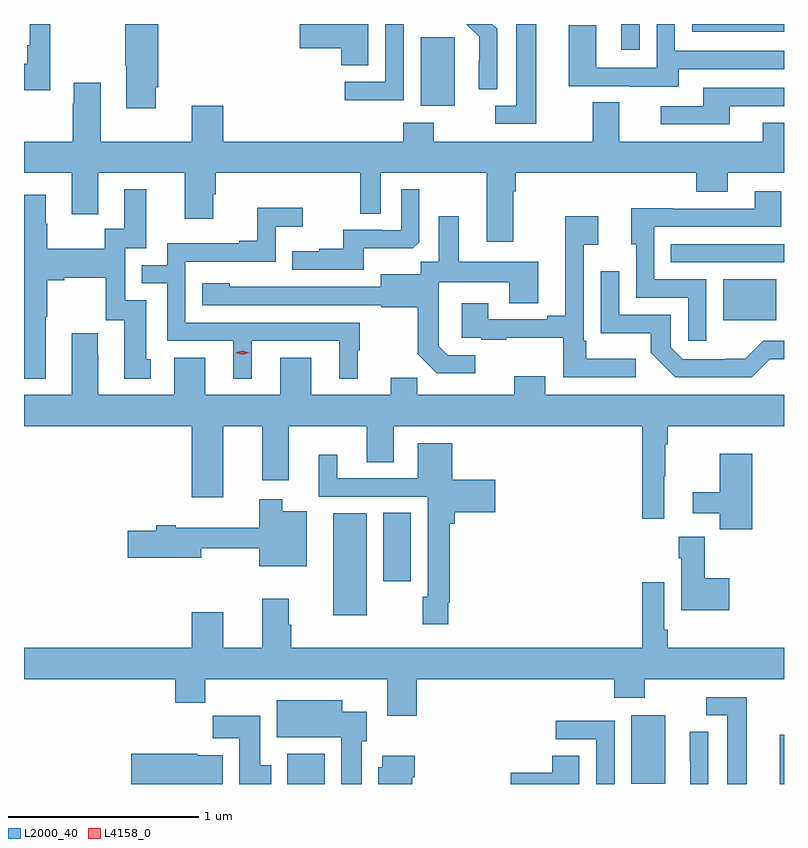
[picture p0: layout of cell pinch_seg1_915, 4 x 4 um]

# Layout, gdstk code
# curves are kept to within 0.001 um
import gdstk
lib = gdstk.Library(unit=1e-6, precision=1e-09)
def R(c, l, rs):  # rectangles x0, y0, x1, y1
    for r in rs: c.add(gdstk.rectangle(r[:2], r[2:], *l))
def P(c, l, *ps):  # polygons
    for p in ps: c.add(gdstk.Polygon(p, *l))
L2000_40 = (2000, 40)
L4158_0 = (4158, 0)

pinch_seg1_915 = lib.new_cell('pinch_seg1_915')
R(pinch_seg1_915, L2000_40, [(177.497,552.512,177.694,552.67), (180.089,552.512,180.112,552.771), (179.309,552.513,179.488,552.874), (177.74,553.4,177.916,553.936), (178.004,553.578,178.147,553.94), (179.792,554.954,180.07,555.169), (179.515,555.258,180.112,555.354), (178.199,556.082,178.378,556.443), (179.255,556.377,179.352,556.512), (179.628,556.47,180.112,556.512)])
P(pinch_seg1_915, L2000_40, [(176.806,556.18),(176.819,556.18),(176.819,556.512),(176.644,556.512),(176.644,556.291),(176.651,556.291),(176.651,556.068),(176.806,556.068)],
  [(177.925,556.512),(177.564,556.512),(177.564,556.385),(177.782,556.385),(177.782,556.294),(177.925,556.294)],
  [(178.807,556.512),(178.703,556.512),(178.703,556.083),(178.593,556.083),(178.593,555.987),(178.807,555.987)],
  [(178.602,556.486),(178.576,556.512),(178.44,556.512),(178.508,556.445),(178.508,556.322),(178.506,556.322),(178.506,556.168),(178.602,556.168)],
  [(178.11,556.512),(178.014,556.512),(178.014,556.209),(177.801,556.209),(177.801,556.111),(178.11,556.111)],
  [(179.557,556.275),(180.112,556.275),(180.112,556.371),(179.538,556.371),(179.538,556.512),(179.442,556.512),(179.442,556.281),(179.124,556.281),(179.124,556.505),(178.979,556.505),(178.979,556.185),(179.303,556.185),(179.303,556.181),(179.557,556.181)],
  [(176.251,556.512),(176.142,556.512),(176.142,556.399),(176.13,556.399),(176.13,556.303),(176.112,556.303),(176.112,556.163),(176.251,556.163)],
  [(178.687,555.632),(178.7,555.632),(178.7,555.728),(179.651,555.728),(179.651,555.629),(179.815,555.629),(179.815,555.728),(180.112,555.728),(180.112,555.991),(179.999,555.991),(179.999,555.892),(179.245,555.892),(179.245,556.1),(179.105,556.1),(179.105,555.892),(178.269,555.892),(178.269,555.991),(178.109,555.991),(178.109,555.892),(177.16,555.892),(177.16,556.081),(176.996,556.081),(176.996,555.892),(176.515,555.892),(176.515,556.204),(176.375,556.204),(176.375,556.091),(176.368,556.091),(176.368,555.892),(176.112,555.892),(176.112,555.728),(176.363,555.728),(176.363,555.51),(176.503,555.51),(176.503,555.728),(176.957,555.728),(176.957,555.486),(177.109,555.486),(177.109,555.615),(177.122,555.615),(177.122,555.728),(177.882,555.728),(177.882,555.514),(177.99,555.514),(177.99,555.728),(178.547,555.728),(178.547,555.366),(178.687,555.366)],
  [(179.827,556.08),(180.112,556.08),(180.112,556.176),(179.687,556.176),(179.687,556.08),(179.463,556.08),(179.463,555.984),(179.827,555.984)],
  [(177.901,555.332),(178.159,555.332),(178.191,555.363),(178.191,555.643),(178.098,555.643),(178.098,555.426),(177.998,555.426),(177.998,555.429),(177.791,555.429),(177.791,555.328),(177.667,555.328),(177.667,555.316),(177.523,555.316),(177.523,555.219),(177.901,555.219)],
  [(176.227,554.971),(176.235,554.971),(176.235,555.164),(176.323,555.164),(176.323,555.176),(176.543,555.176),(176.543,554.952),(176.639,554.952),(176.639,554.646),(176.779,554.646),(176.779,554.748),(176.755,554.748),(176.755,555.057),(176.646,555.057),(176.646,555.333),(176.755,555.333),(176.755,555.643),(176.639,555.643),(176.639,555.434),(176.538,555.434),(176.538,555.328),(176.235,555.328),(176.235,555.462),(176.227,555.462),(176.227,555.613),(176.112,555.613),(176.112,554.645),(176.227,554.645)],
  [(179.703,555.168),(179.43,555.168),(179.43,555.444),(180.097,555.444),(180.097,555.631),(179.957,555.631),(179.957,555.54),(179.527,555.54),(179.527,555.542),(179.309,555.542),(179.309,555.354),(179.334,555.354),(179.334,555.072),(179.607,555.072),(179.607,554.844),(179.703,554.844)],
  [(177.31,554.844),(177.77,554.844),(177.77,554.645),(177.868,554.645),(177.868,554.796),(177.88,554.796),(177.88,554.94),(176.961,554.94),(176.961,555.261),(177.438,555.261),(177.438,555.446),(177.58,555.446),(177.58,555.545),(177.34,555.545),(177.34,555.37),(177.245,555.37),(177.245,555.357),(176.865,555.357),(176.865,555.243),(176.731,555.243),(176.731,555.147),(176.865,555.147),(176.865,554.844),(177.212,554.844),(177.212,554.645),(177.31,554.645)],
  [(179.332,554.749),(179.071,554.749),(179.071,554.845),(179.058,554.845),(179.058,555.35),(179.134,555.35),(179.134,555.499),(178.961,555.499),(178.961,554.977),(178.865,554.977),(178.865,554.958),(178.555,554.958),(178.555,555.043),(178.415,555.043),(178.415,554.862),(178.519,554.862),(178.519,554.85),(178.651,554.85),(178.651,554.861),(178.95,554.861),(178.95,554.652),(179.332,554.652)],
  [(178.486,554.769),(178.341,554.769),(178.294,554.816),(178.294,554.911),(178.296,554.911),(178.296,555.152),(178.667,555.152),(178.667,555.043),(178.819,555.043),(178.819,555.262),(178.399,555.262),(178.399,555.499),(178.295,555.499),(178.295,555.26),(178.2,555.26),(178.2,555.196),(177.989,555.196),(177.989,555.129),(177.195,555.13),(177.195,555.148),(177.051,555.148),(177.051,555.033),(177.993,555.033),(177.993,555.021),(178.185,555.021),(178.185,554.775),(178.285,554.675),(178.486,554.675)],
  [(180.038,554.747),(180.112,554.747),(180.112,554.844),(180.003,554.844),(179.909,554.75),(179.804,554.75),(179.804,554.748),(179.58,554.748),(179.517,554.811),(179.517,554.982),(179.244,554.982),(179.244,555.211),(179.148,555.211),(179.148,554.885),(179.41,554.885),(179.41,554.783),(179.54,554.652),(179.943,554.652)],
  [(179.482,554.131),(179.486,554.131),(179.486,554.3),(179.501,554.3),(179.501,554.396),(180.112,554.396),(180.112,554.56),(178.855,554.56),(178.855,554.659),(178.691,554.659),(178.691,554.56),(178.181,554.56),(178.181,554.651),(178.043,554.651),(178.043,554.56),(177.625,554.56),(177.625,554.755),(177.461,554.755),(177.461,554.56),(177.067,554.56),(177.067,554.755),(176.903,554.755),(176.903,554.56),(176.503,554.56),(176.503,554.771),(176.5,554.771),(176.5,554.884),(176.363,554.884),(176.363,554.56),(176.112,554.56),(176.112,554.396),(176.996,554.396),(176.996,554.022),(177.16,554.022),(177.16,554.396),(177.365,554.396),(177.365,554.112),(177.505,554.112),(177.505,554.396),(177.917,554.396),(177.917,554.206),(178.057,554.206),(178.057,554.396),(179.365,554.396),(179.365,553.908),(179.482,553.908)],
  [(178.345,553.465),(178.352,553.465),(178.352,553.883),(178.379,553.883),(178.379,553.943),(178.591,553.943),(178.591,554.113),(178.366,554.113),(178.366,554.305),(178.184,554.305),(178.184,554.121),(177.76,554.121),(177.76,554.245),(177.662,554.245),(177.662,554.025),(178.236,554.025),(178.236,553.497),(178.21,553.497),(178.21,553.353),(178.345,553.353)],
  [(179.945,554.251),(179.774,554.251),(179.774,554.047),(179.631,554.047),(179.631,553.938),(179.774,553.938),(179.774,553.854),(179.945,553.854)],
  [(177.601,553.948),(177.472,553.948),(177.472,554.011),(177.35,554.011),(177.35,553.861),(176.911,553.861),(176.911,553.874),(176.807,553.874),(176.807,553.844),(176.658,553.844),(176.658,553.702),(177.046,553.702),(177.046,553.752),(177.35,553.752),(177.35,553.658),(177.601,553.658)],
  [(179.824,553.594),(179.696,553.594),(179.696,553.813),(179.558,553.813),(179.558,553.7),(179.57,553.7),(179.57,553.427),(179.824,553.427)],
  [(178.178,553.064),(179.219,553.064),(179.219,552.965),(179.379,552.965),(179.379,553.064),(180.112,553.064),(180.112,553.228),(179.501,553.228),(179.501,553.324),(179.481,553.324),(179.481,553.573),(179.365,553.573),(179.365,553.228),(177.518,553.228),(177.518,553.349),(177.505,553.349),(177.505,553.486),(177.365,553.486),(177.365,553.228),(177.16,553.228),(177.16,553.417),(176.996,553.417),(176.996,553.228),(176.112,553.228),(176.112,553.064),(176.909,553.064),(176.909,552.94),(177.065,552.94),(177.065,553.064),(178.025,553.064),(178.025,552.87),(178.178,552.87)],
  [(179.917,552.969),(179.703,552.969),(179.703,552.873),(179.813,552.873),(179.813,552.512),(179.917,552.512)],
  [(177.889,552.738),(177.916,552.738),(177.916,552.892),(177.787,552.892),(177.787,552.952),(177.443,552.952),(177.443,552.758),(177.782,552.758),(177.782,552.512),(177.889,552.512)],
  [(177.412,552.612),(177.355,552.612),(177.355,552.87),(177.106,552.87),(177.106,552.752),(177.245,552.752),(177.245,552.512),(177.412,552.512)],
  [(179.22,552.846),(178.911,552.846),(178.911,552.747),(179.124,552.747),(179.124,552.512),(179.22,552.512)],
  [(179.712,552.788),(179.616,552.788),(179.616,552.634),(179.618,552.634),(179.618,552.512),(179.712,552.512)],
  [(177.157,552.664),(177.024,552.664),(177.024,552.67),(176.676,552.67),(176.676,552.512),(177.157,552.512)],
  [(179.035,552.662),(178.892,552.662),(178.892,552.572),(178.674,552.572),(178.674,552.512),(179.035,552.512)],
  [(178.156,552.548),(178.169,552.548),(178.169,552.661),(177.998,552.661),(177.998,552.6),(177.977,552.6),(177.977,552.512),(178.156,552.512)])
P(pinch_seg1_915, L4158_0, [(177.261,554.772),(177.225,554.782),(177.225,554.782),(177.225,554.782),(177.261,554.792),(177.297,554.782),(177.297,554.782),(177.297,554.782)])

lib.write_gds('pinch_seg1_915.gds')
